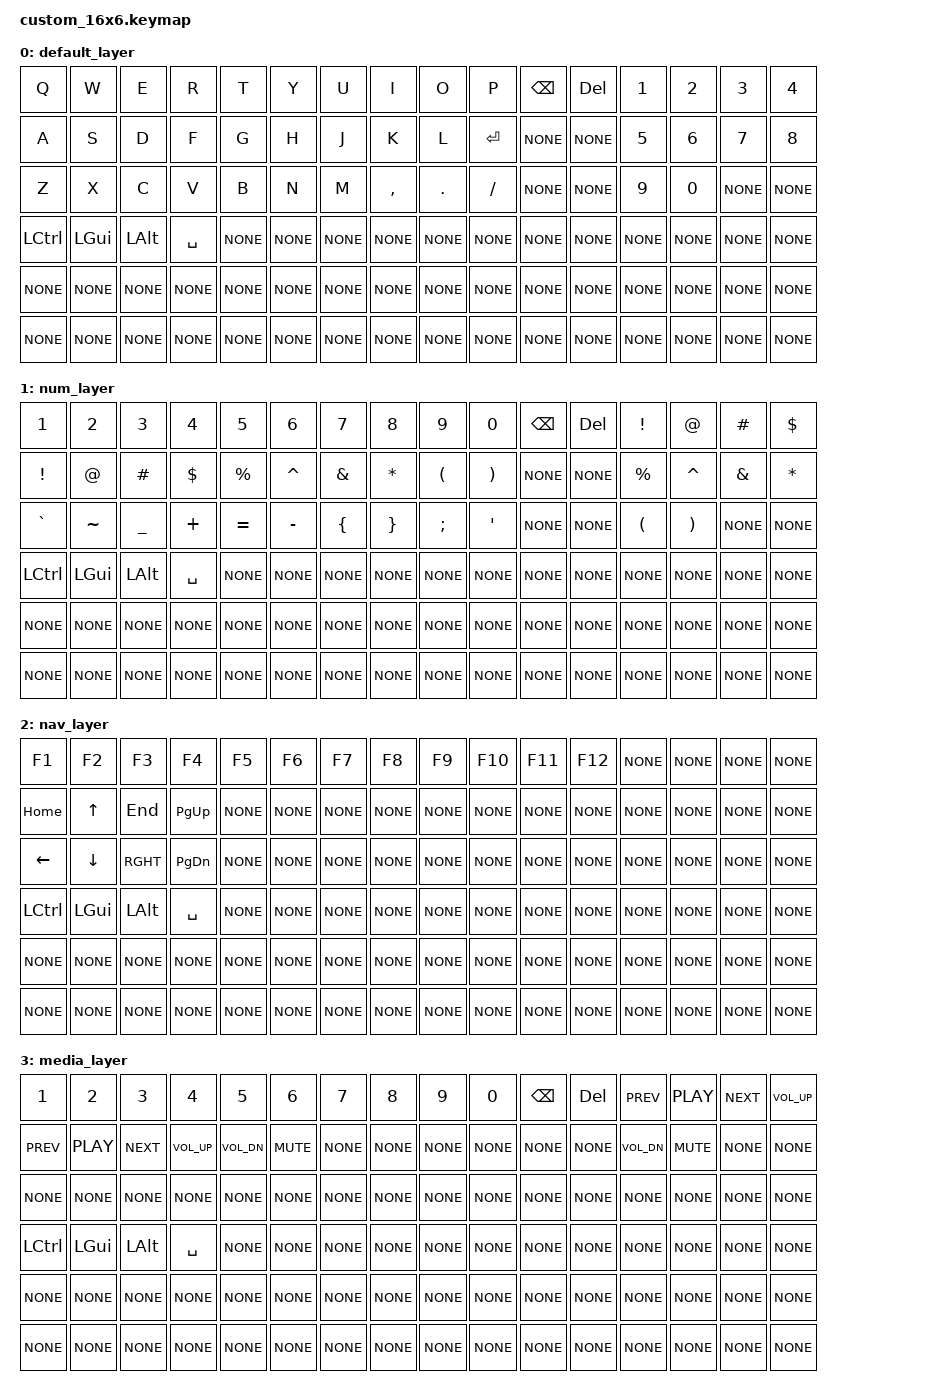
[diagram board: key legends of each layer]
/*
 * Copyright (c) 2020 The ZMK Contributors
 *
 * SPDX-License-Identifier: MIT
 */

#include <behaviors.dtsi>
#include <dt-bindings/zmk/keys.h>

/ {
    keymap {
        compatible = "zmk,keymap";

        default_layer {
            bindings = <
                &kp Q    &kp W    &kp E    &kp R    &kp T    &kp Y    &kp U    &kp I    &kp O    &kp P    &kp BSPC  &kp DEL  &kp N1   &kp N2   &kp N3   &kp N4
                &kp A    &kp S    &kp D    &kp F    &kp G    &kp H    &kp J    &kp K    &kp L    &kp ENTER &kp NONE  &kp NONE  &kp N5   &kp N6   &kp N7   &kp N8
                &kp Z    &kp X    &kp C    &kp V    &kp B    &kp N    &kp M    &kp COMMA &kp DOT   &kp SLASH &kp NONE  &kp NONE  &kp N9   &kp N0   &kp NONE  &kp NONE
                &kp LCTL &kp LGUI &kp LALT &kp SPACE &kp NONE &kp NONE &kp NONE &kp NONE  &kp NONE  &kp NONE  &kp NONE  &kp NONE  &kp NONE &kp NONE &kp NONE &kp NONE
                &kp NONE &kp NONE &kp NONE &kp NONE  &kp NONE &kp NONE &kp NONE &kp NONE  &kp NONE  &kp NONE  &kp NONE  &kp NONE  &kp NONE &kp NONE &kp NONE &kp NONE
                &kp NONE &kp NONE &kp NONE &kp NONE  &kp NONE &kp NONE &kp NONE &kp NONE  &kp NONE  &kp NONE  &kp NONE  &kp NONE  &kp NONE &kp NONE &kp NONE &kp NONE
            >;
        };

        // Layer 1: Numbers and symbols
        num_layer {
            bindings = <
                &kp N1   &kp N2   &kp N3   &kp N4   &kp N5   &kp N6   &kp N7   &kp N8   &kp N9   &kp N0   &kp BSPC  &kp DEL  &kp EXCL &kp AT   &kp HASH &kp DLLR
                &kp EXCL &kp AT   &kp HASH &kp DLLR &kp PRCNT &kp CARET &kp AMPS &kp STAR &kp LPAR &kp RPAR &kp NONE  &kp NONE  &kp PRCNT &kp CARET &kp AMPS &kp STAR
                &kp GRAVE &kp TILDE &kp UNDER &kp PLUS &kp EQUAL &kp MINUS &kp LBRC &kp RBRC &kp SEMI &kp SQT &kp NONE  &kp NONE  &kp LPAR &kp RPAR &kp NONE  &kp NONE
                &kp LCTL &kp LGUI &kp LALT &kp SPACE &kp NONE &kp NONE &kp NONE &kp NONE  &kp NONE  &kp NONE  &kp NONE  &kp NONE  &kp NONE &kp NONE &kp NONE &kp NONE
                &kp NONE &kp NONE &kp NONE &kp NONE  &kp NONE &kp NONE &kp NONE &kp NONE  &kp NONE  &kp NONE  &kp NONE  &kp NONE  &kp NONE &kp NONE &kp NONE &kp NONE
                &kp NONE &kp NONE &kp NONE &kp NONE  &kp NONE &kp NONE &kp NONE &kp NONE  &kp NONE  &kp NONE  &kp NONE  &kp NONE  &kp NONE &kp NONE &kp NONE &kp NONE
            >;
        };

        // Layer 2: Function keys and navigation
        nav_layer {
            bindings = <
                &kp F1   &kp F2   &kp F3   &kp F4   &kp F5   &kp F6   &kp F7   &kp F8   &kp F9   &kp F10  &kp F11  &kp F12  &kp NONE &kp NONE &kp NONE &kp NONE
                &kp HOME &kp UP   &kp END  &kp PG_UP &kp NONE &kp NONE &kp NONE &kp NONE &kp NONE &kp NONE &kp NONE &kp NONE &kp NONE &kp NONE &kp NONE &kp NONE
                &kp LEFT &kp DOWN &kp RGHT &kp PG_DN &kp NONE &kp NONE &kp NONE &kp NONE &kp NONE &kp NONE &kp NONE &kp NONE &kp NONE &kp NONE &kp NONE &kp NONE
                &kp LCTL &kp LGUI &kp LALT &kp SPACE &kp NONE &kp NONE &kp NONE &kp NONE  &kp NONE  &kp NONE  &kp NONE  &kp NONE  &kp NONE &kp NONE &kp NONE &kp NONE
                &kp NONE &kp NONE &kp NONE &kp NONE  &kp NONE &kp NONE &kp NONE &kp NONE  &kp NONE  &kp NONE  &kp NONE  &kp NONE  &kp NONE &kp NONE &kp NONE &kp NONE
                &kp NONE &kp NONE &kp NONE &kp NONE  &kp NONE &kp NONE &kp NONE &kp NONE  &kp NONE  &kp NONE  &kp NONE  &kp NONE  &kp NONE &kp NONE &kp NONE &kp NONE
            >;
        };

        // Layer 3: Media controls
        media_layer {
            bindings = <
                &kp N1   &kp N2   &kp N3   &kp N4   &kp N5   &kp N6   &kp N7   &kp N8   &kp N9   &kp N0   &kp BSPC  &kp DEL  &kp PREV &kp PLAY &kp NEXT &kp VOL_UP
                &kp PREV &kp PLAY &kp NEXT &kp VOL_UP &kp VOL_DN &kp MUTE &kp NONE &kp NONE &kp NONE &kp NONE &kp NONE &kp NONE &kp VOL_DN &kp MUTE &kp NONE &kp NONE
                &kp NONE &kp NONE &kp NONE &kp NONE &kp NONE &kp NONE &kp NONE &kp NONE &kp NONE &kp NONE &kp NONE &kp NONE &kp NONE &kp NONE &kp NONE &kp NONE
                &kp LCTL &kp LGUI &kp LALT &kp SPACE &kp NONE &kp NONE &kp NONE &kp NONE  &kp NONE  &kp NONE  &kp NONE  &kp NONE  &kp NONE &kp NONE &kp NONE &kp NONE
                &kp NONE &kp NONE &kp NONE &kp NONE  &kp NONE &kp NONE &kp NONE &kp NONE  &kp NONE  &kp NONE  &kp NONE  &kp NONE  &kp NONE &kp NONE &kp NONE &kp NONE
                &kp NONE &kp NONE &kp NONE &kp NONE  &kp NONE &kp NONE &kp NONE &kp NONE  &kp NONE  &kp NONE  &kp NONE  &kp NONE  &kp NONE &kp NONE &kp NONE &kp NONE
            >;
        };
    };
};
